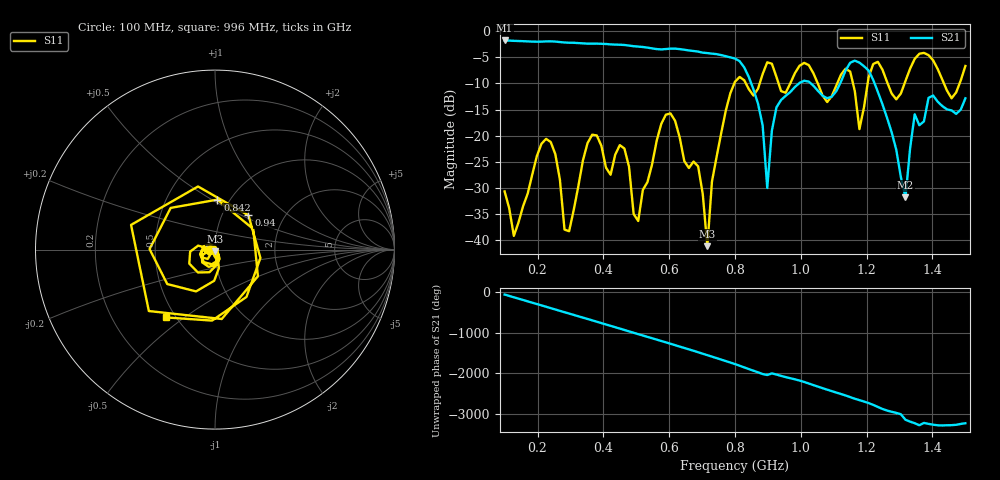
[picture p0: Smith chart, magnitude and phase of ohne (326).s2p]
! NanoVNA-App
! Date: 2025-09-25 14:23:20
! Start: 100MHz Stop: 1,5GHz Points: 101
! S-Parameter data: F S11 S21 S12 S22
# Hz S RI R 50
!  Frequency  S11_Real  S11_Imag  S21_Real  S21_Imag  S12_Real  S12_Imag  S22_Real  S22_Imag
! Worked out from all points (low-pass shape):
!   101 points, 100 MHz to 1.5 GHz, reference 50 ohm
!   highest |S21| = -1.79 dB at 100 MHz (marker M1); lowest = -31.8 dB at 1.318 GHz (marker M2)
!   |S21| within 3 dB of the highest: start of sweep to 771.6 MHz
!   lowest |S11| = -41.1 dB at 716 MHz (marker M3), VSWR 1.02, Z = 49.9 - j0.868 ohm
!   |S11| at or under -10 dB: start of sweep to 798 MHz; 833 MHz to 875 MHz (42.05 MHz wide, 4.92 % of centre); 1.052 GHz to 1.111 GHz (59.13 MHz wide, 5.47 % of centre) (the widest 3 of 7)
!   S12 and S22 are empty: the file has one direction only
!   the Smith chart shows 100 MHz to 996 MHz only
!   S11 on the Smith chart (normalised r, x): 100 MHz: 0.94, -0.01; 842 MHz: 0.88, +0.53; 940 MHz: 1.33, +0.55; 996 MHz: 0.44, -0.43
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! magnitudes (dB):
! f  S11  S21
! 100 MHz  -30.6  -1.8
! 128 MHz  -39.1  -1.9
! 226 MHz  -20.6  -2.0
! 296 MHz  -38.2  -2.2
! 338 MHz  -24.7  -2.3
! 464 MHz  -22.4  -2.7
! 506 MHz  -36.3  -3.0
! 576 MHz  -17.7  -3.5
! 688 MHz  -25.9  -3.9
! 716 MHz  -41.1  -4.2
! 800 MHz  -9.7  -5.3
! 842 MHz  -11.1  -8.8
! 898 MHz  -6.0  -30.0
! 940 MHz  -11.5  -13.2
! 996 MHz  -6.6  -9.9
! 1.038 GHz  -8.0  -10.4
! 1.178 GHz  -18.7  -6.0
! 1.22 GHz  -6.3  -9.3
! 1.276 GHz  -11.9  -19.3
! 1.318 GHz  -9.5  -31.8
! 1.346 GHz  -5.3  -15.9
! 1.5 GHz  -6.7  -12.8
